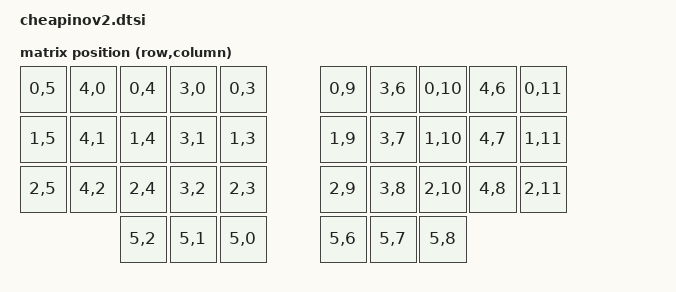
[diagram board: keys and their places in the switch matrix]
/*
 * Copyright (c) 2022 The ZMK Contributors
 *
 * SPDX-License-Identifier: MIT
 */

#include <dt-bindings/zmk/matrix_transform.h>

/ {
    chosen {
        zmk,kscan = &kscan0;
        zmk,matrix_transform = &default_transform;
    };

    default_transform: keymap_transform_0 {
        compatible = "zmk,matrix-transform";
        columns = <10>;
        rows = <4>;
        map = <
                RC(0,5) RC(4,0) RC(0,4) RC(3,0) RC(0,3)    RC(0,9) RC(3,6) RC(0,10) RC(4,6) RC(0,11)
                RC(1,5) RC(4,1) RC(1,4) RC(3,1) RC(1,3)    RC(1,9) RC(3,7) RC(1,10) RC(4,7) RC(1,11)
                RC(2,5) RC(4,2) RC(2,4) RC(3,2) RC(2,3)    RC(2,9) RC(3,8) RC(2,10) RC(4,8) RC(2,11)
                                RC(5,2) RC(5,1) RC(5,0)    RC(5,6) RC(5,7) RC(5,8)
        >;
    };


    kscan0: kscan_0 {
        compatible = "zmk,kscan-gpio-charlieplex";
        interrupt-gpios	= 
              <&xiao_d 3 (GPIO_ACTIVE_HIGH | GPIO_PULL_DOWN)> // Row 0
            , <&xiao_d 2 (GPIO_ACTIVE_HIGH | GPIO_PULL_DOWN)>
            , <&xiao_d 1 (GPIO_ACTIVE_HIGH | GPIO_PULL_DOWN)>
            ;

        gpios
            = <&xiao_d 3 (GPIO_ACTIVE_HIGH | GPIO_PULL_DOWN)> // Row 0
            , <&xiao_d 2 (GPIO_ACTIVE_HIGH | GPIO_PULL_DOWN)>
            , <&xiao_d 1 (GPIO_ACTIVE_HIGH | GPIO_PULL_DOWN)>
            , <&xiao_d 6 (GPIO_ACTIVE_HIGH | GPIO_PULL_DOWN)> // Col 0
            , <&xiao_d 5 (GPIO_ACTIVE_HIGH | GPIO_PULL_DOWN)>
            , <&xiao_d 4 (GPIO_ACTIVE_HIGH | GPIO_PULL_DOWN)>
            ;
    };
};

&xiao_i2c { status = "disabled"; };
&xiao_spi { status = "disabled"; };
&xiao_serial { status = "disabled"; };
